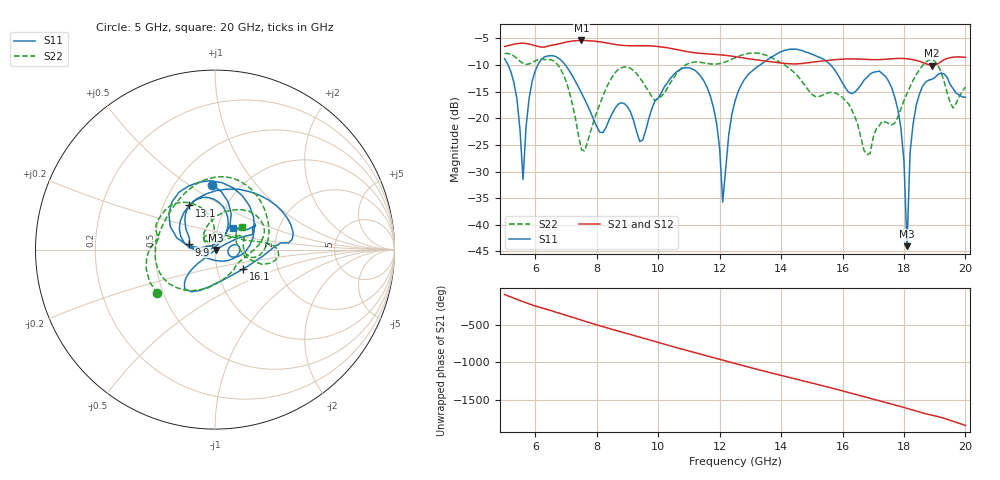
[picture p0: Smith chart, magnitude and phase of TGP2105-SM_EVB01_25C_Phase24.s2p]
! Date: Wednesday, June 05, 2013  1:50 PM
! Filename: C:\Data\Mike_Arnold\TGP2105-SM\Over_Temp\TGP2105-SM_EVB01_25C_Phase24.s2p
! Comments:
!^VDC(V):5.000
!^VDC(mA):0.063
!%Freq(GHz),S11(dB),S11(ang),S21(dB),S21(ang),S12(dB),S12(ang),S22(dB),S22(ang)
# GHz  S  DB  R  50
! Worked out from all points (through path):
!   151 points, 5 GHz to 20 GHz, reference 50 ohm
!   highest |S21| = -5.40 dB at 7.5 GHz (marker M1); lowest = -10.1 dB at 18.9 GHz (marker M2)
!   group delay of S21, straight-line fit = 308 ps
!   lowest |S11| = -44.0 dB at 18.1 GHz (marker M3), VSWR 1.01, Z = 50.6 - j0.181 ohm
!   |S11| at or under -10 dB: 5.114 GHz to 6.083 GHz (969.4 MHz wide, 17.3 % of centre); 6.975 GHz to 13.31 GHz (6.339 GHz wide, 62.5 % of centre); 15.61 GHz to end of sweep
!   |S22| runs from -26.8 to -7.8 dB; largest |S21 - S12| = 0.0022
!   S11 on the Smith chart (normalised r, x): 5 GHz: 0.75, +0.62; 9.9 GHz: 0.75, +0.04; 13.1 GHz: 0.67, +0.36; 16.1 GHz: 1.34, -0.30; 20 GHz: 1.18, +0.30
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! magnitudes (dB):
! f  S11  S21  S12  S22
! 5 GHz  -8.8  -6.5  -6.6  -7.9
! 5.4 GHz  -16.3  -6.0  -6.0  -8.8
! 5.6 GHz  -31.5  -5.9  -5.9  -9.7
! 6.1 GHz  -9.8  -6.5  -6.5  -9.0
! 7.5 GHz  -15.2  -5.4  -5.4  -25.9
! 8.7 GHz  -17.4  -6.2  -6.3  -10.9
! 9.4 GHz  -24.4  -6.4  -6.4  -12.4
! 9.9 GHz  -16.6  -6.5  -6.5  -16.7
! 10 GHz  -16.2  -6.5  -6.6  -16.3
! 11.5 GHz  -13.1  -7.9  -7.9  -9.6
! 12.1 GHz  -35.7  -8.1  -8.1  -9.6
! 12.5 GHz  -16.8  -8.4  -8.5  -8.7
! 13.1 GHz  -10.9  -9.0  -9.0  -7.8
! 15 GHz  -8.0  -9.5  -9.5  -15.5
! 16.1 GHz  -14.4  -8.9  -8.9  -16.8
! 16.8 GHz  -12.3  -9.0  -9.0  -26.8
! 17.5 GHz  -13.0  -8.9  -8.9  -20.9
! 17.9 GHz  -21.8  -8.8  -8.8  -18.3
! 18.1 GHz  -44.0  -8.8  -8.9  -15.3
! 18.3 GHz  -21.0  -9.0  -9.0  -12.9
! 18.9 GHz  -12.7  -10.1  -10.1  -9.0
! 20 GHz  -16.1  -8.6  -8.6  -14.2
